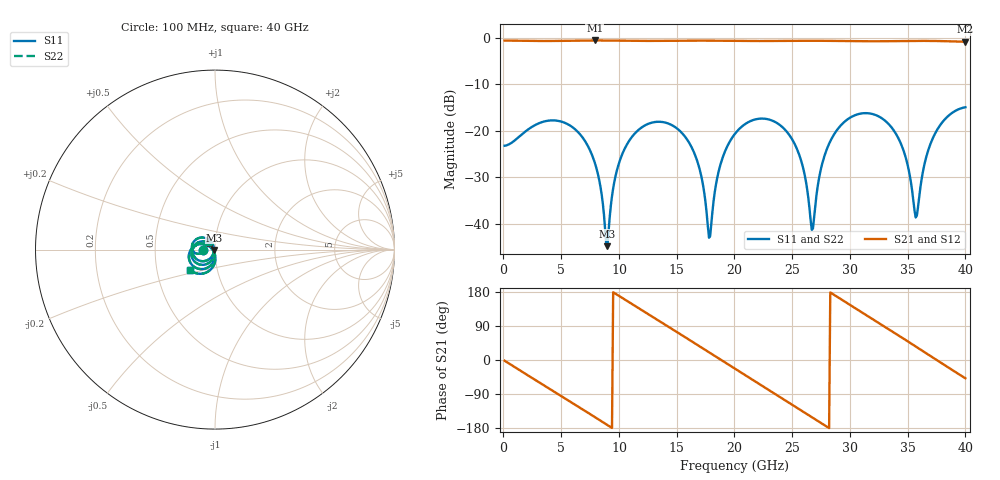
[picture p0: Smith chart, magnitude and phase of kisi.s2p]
! thru_s8x2_L3: 2×thru, L3, 8 mm
! stackup: 8-layer 1.6 mm FR-4 without the L2 plane
! ports: 1, 2
! kisi-fdtd, conformal, dfine 0.035 mm, 413725 cells
# Hz S RI R 50
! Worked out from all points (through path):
!   400 points, 100 MHz to 40 GHz, reference 50 ohm
!   highest |S21| = -0.55 dB at 7.9 GHz (marker M1); lowest = -0.8 dB at 40 GHz (marker M2)
!   group delay of S21, straight-line fit = 53.3 ps
!   lowest |S11| = -44.8 dB at 9 GHz (marker M3), VSWR 1.01, Z = 49.4 - j0.157 ohm
!   |S11| at or under -10 dB: start of sweep to end of sweep
!   |S22| runs from -44.8 to -14.9 dB; largest |S21 - S12| = 0
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1e8  -0.0692 -0.00198  0.935 -0.0315  0.935 -0.0315  -0.0692 -0.00198
3.7e9  -0.1276 0.00637  0.3116 -0.8716  0.3116 -0.8716  -0.1276 0.00637
6.8e9  -0.0567 0.0655  -0.5918 -0.7261  -0.5918 -0.7261  -0.0567 0.0655
7.9e9  -0.0196 0.0415  -0.816 -0.4633  -0.816 -0.4633  -0.0196 0.0415
9e9  -0.00554 -0.00158  -0.9268 -0.1364  -0.9268 -0.1364  -0.00554 -0.00158
9.5e9  -0.00936 -0.0222  -0.935 0.0202  -0.935 0.0202  -0.00936 -0.0222
1.03e10  -0.0279 -0.0495  -0.8939 0.2654  -0.8939 0.2654  -0.0279 -0.0495
1.34e10  -0.1241 -0.0182  -0.2352 0.8981  -0.2352 0.8981  -0.1241 -0.0182
1.65e10  -0.0422 0.0408  0.6567 0.6647  0.6567 0.6647  -0.0422 0.0408
1.78e10  -0.0071 -4.71e-05  0.8762 0.3235  0.8762 0.3235  -0.0071 -4.71e-05
1.87e10  -0.00764 -0.0388  0.9311 0.0474  0.9311 0.0474  -0.00764 -0.0388
2.01e10  -0.0489 -0.0813  0.8486 -0.3769  0.8486 -0.3769  -0.0489 -0.0813
2.46e10  -0.0898 0.0332  -0.3166 -0.8733  -0.3166 -0.8733  -0.0898 0.0332
2.59e10  -0.0333 0.0259  -0.6591 -0.6579  -0.6591 -0.6579  -0.0333 0.0259
2.67e10  -0.0084 -0.00189  -0.8115 -0.4575  -0.8115 -0.4575  -0.0084 -0.00189
2.76e10  -0.00143 -0.0443  -0.9106 -0.1922  -0.9106 -0.1922  -0.00143 -0.0443
2.89e10  -0.0348 -0.0968  -0.9022 0.2131  -0.9022 0.2131  -0.0348 -0.0968
3.34e10  -0.1153 0.0186  0.1534 0.9085  0.1534 0.9085  -0.1153 0.0186
3.48e10  -0.047 0.0254  0.5535 0.7426  0.5535 0.7426  -0.047 0.0254
3.57e10  -0.0107 -0.00481  0.7542 0.5415  0.7542 0.5415  -0.0107 -0.00481
3.72e10  -0.00518 -0.0844  0.9217 0.0989  0.9217 0.0989  -0.00518 -0.0844
4e10  -0.1393 -0.1133  0.6047 -0.6788  0.6047 -0.6788  -0.1393 -0.1133
